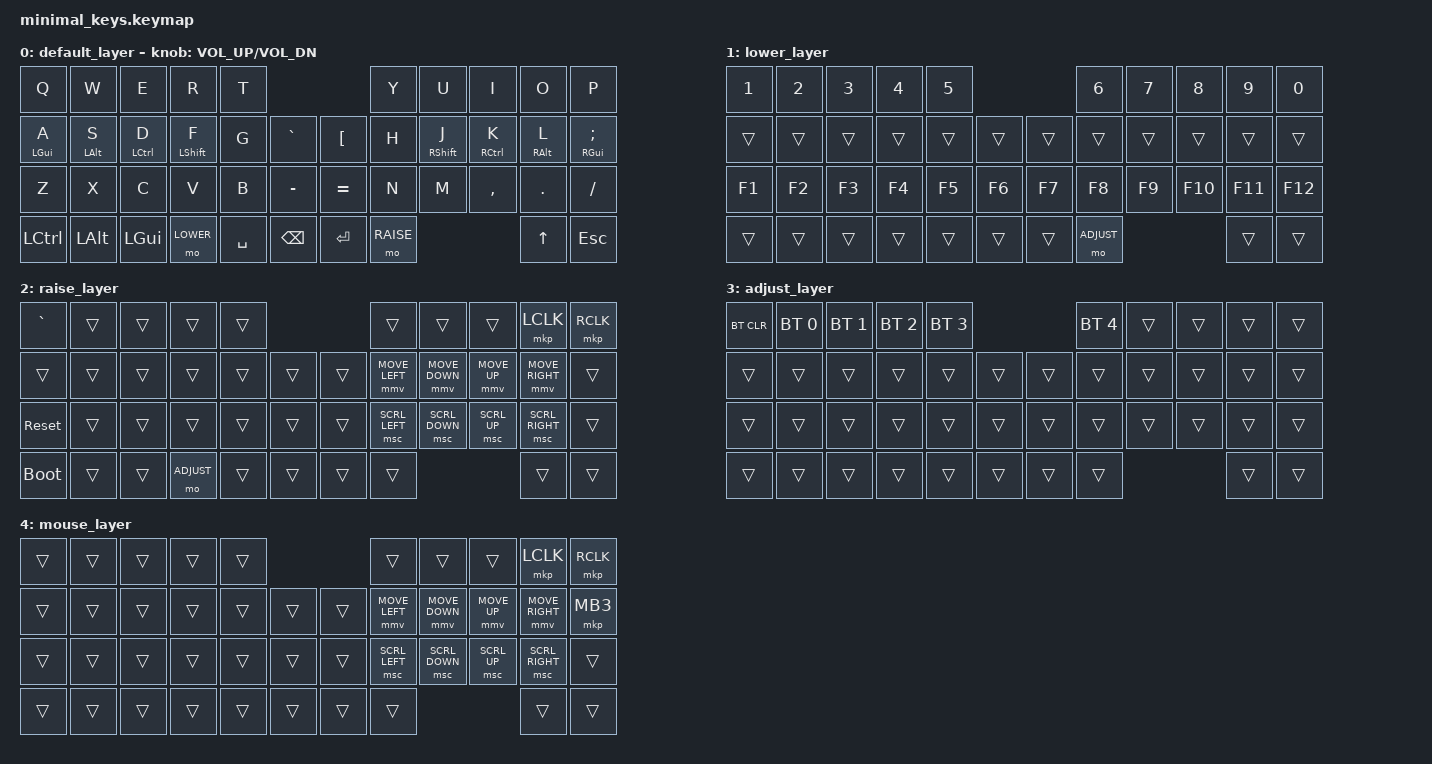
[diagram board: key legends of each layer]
#include <behaviors.dtsi>
#include <dt-bindings/zmk/keys.h>
#include <dt-bindings/zmk/bt.h>
#include <dt-bindings/zmk/mouse.h>
#include <dt-bindings/zmk/pointing.h>

// レイヤー定義
#define DEFAULT 0
#define LOWER 1
#define RAISE 2
#define ADJUST 3
#define MOUSE 4

// タップ・ホールド設定（高速レスポンス用）
&mt {
    flavor = "balanced";
    tapping-term-ms = <150>;    // 高速レスポンス用に短縮
    quick-tap-ms = <100>;       // 高速レスポンス用に短縮
    require-prior-idle-ms = <50>; // 高速レスポンス用に短縮
};

// タイムラグ短縮のための設定
&kscan0 {
    debounce-period = <5>;      // デバウンス時間短縮
    scan-period-ms = <5>;       // スキャン間隔短縮
};

/ {
    behaviors {
        // ホームポジションモディファイア用
        hm: homerow_mods {
            compatible = "zmk,behavior-hold-tap";
            #binding-cells = <2>;
            flavor = "balanced";
            tapping-term-ms = <150>;
            quick-tap-ms = <100>;
            require-prior-idle-ms = <50>;
            bindings = <&kp>, <&kp>;
        };
    };

    keymap {
        compatible = "zmk,keymap";

        default_layer {
            // 修正されたマトリックスに合わせたレイアウト
            bindings = <
                &kp Q       &kp W       &kp E       &kp R       &kp T                           &kp Y       &kp U       &kp I       &kp O       &kp P
                &hm LGUI A  &hm LALT S  &hm LCTRL D &hm LSHFT F &kp G       &kp GRAVE   &kp LBKT    &kp H       &hm RSHFT J &hm RCTRL K &hm RALT L  &hm RGUI SEMI
                &kp Z       &kp X       &kp C       &kp V       &kp B       &kp MINUS   &kp EQUAL   &kp N       &kp M       &kp COMMA   &kp DOT     &kp FSLH
                &kp LCTRL   &kp LALT    &kp LGUI    &mo LOWER   &kp SPACE   &kp BSPC    &kp RET     &mo RAISE                           &kp UP      &kp ESC
            >;
            
            sensor-bindings = <&inc_dec_kp C_VOL_UP C_VOL_DN>;
        };

        lower_layer {
            // 数字、記号レイヤー
            bindings = <
                &kp N1      &kp N2      &kp N3      &kp N4      &kp N5                          &kp N6      &kp N7      &kp N8      &kp N9      &kp N0
                &trans      &trans      &trans      &trans      &trans      &trans      &trans  &trans      &trans      &trans      &trans      &trans
                &kp F1      &kp F2      &kp F3      &kp F4      &kp F5      &kp F6      &kp F7  &kp F8      &kp F9      &kp F10     &kp F11     &kp F12
                &trans      &trans      &trans      &trans      &trans      &trans      &trans  &mo ADJUST                           &trans      &trans
            >;
        };

        raise_layer {
            // マウス操作、ナビゲーションレイヤー
            bindings = <
                &kp GRAVE   &trans      &trans      &trans      &trans                          &trans      &trans      &trans      &mkp LCLK   &mkp RCLK
                &trans      &trans      &trans      &trans      &trans      &trans      &trans  &mmv MOVE_LEFT &mmv MOVE_DOWN &mmv MOVE_UP &mmv MOVE_RIGHT &trans
                &sys_reset  &trans      &trans      &trans      &trans      &trans      &trans  &msc SCRL_LEFT &msc SCRL_DOWN &msc SCRL_UP &msc SCRL_RIGHT &trans
                &bootloader &trans      &trans      &mo ADJUST  &trans      &trans      &trans  &trans                                      &trans      &trans
            >;
        };

        adjust_layer {
            // Bluetooth、システム設定レイヤー
            bindings = <
                &bt BT_CLR  &bt BT_SEL 0 &bt BT_SEL 1 &bt BT_SEL 2 &bt BT_SEL 3                &bt BT_SEL 4 &trans     &trans      &trans      &trans
                &trans      &trans      &trans      &trans      &trans      &trans      &trans  &trans      &trans      &trans      &trans      &trans
                &trans      &trans      &trans      &trans      &trans      &trans      &trans  &trans      &trans      &trans      &trans      &trans
                &trans      &trans      &trans      &trans      &trans      &trans      &trans  &trans                              &trans      &trans
            >;
        };

        mouse_layer {
            // マウス専用レイヤー
            bindings = <
                &trans      &trans      &trans      &trans      &trans                          &trans      &trans      &trans      &mkp LCLK   &mkp RCLK
                &trans      &trans      &trans      &trans      &trans      &trans      &trans  &mmv MOVE_LEFT &mmv MOVE_DOWN &mmv MOVE_UP &mmv MOVE_RIGHT &mkp MB3
                &trans      &trans      &trans      &trans      &trans      &trans      &trans  &msc SCRL_LEFT &msc SCRL_DOWN &msc SCRL_UP &msc SCRL_RIGHT &trans
                &trans      &trans      &trans      &trans      &trans      &trans      &trans  &trans                                      &trans      &trans
            >;
        };
    };
};
